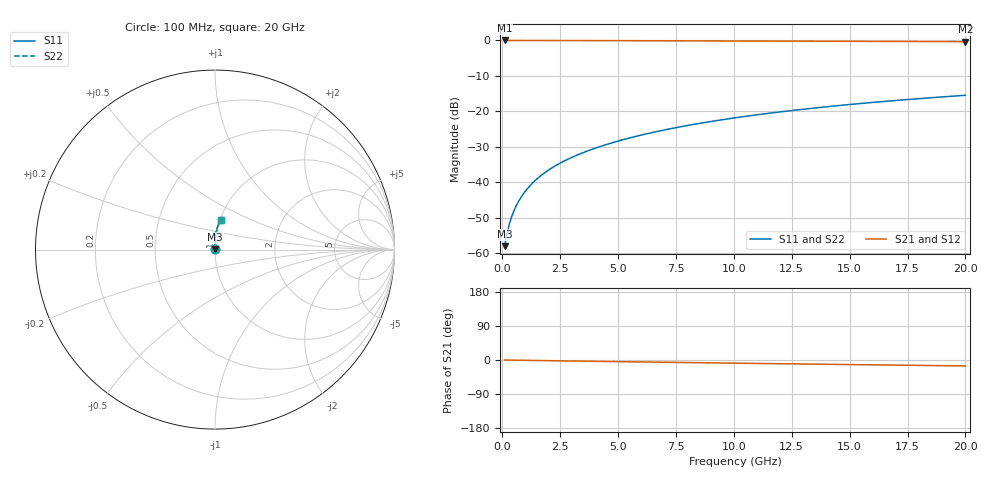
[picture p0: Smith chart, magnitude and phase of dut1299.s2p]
! Touchstone file exported from HFSS 2024.1.0
!  File:  C:/UserFiles/LocalFiles/RDL_TSV_Batchsim/temp_RDL_bottom_1299_1780247400.aedt
!  Generated:  01:12:19 AM Jun  1, 2026
!  Design:  RDL_bottom
!  Project:  temp_RDL_bottom_1299_1780247400
!  Setup:  Setup1
!  Solution:  Sweep
! Variables:
!  dtsv = 10.80580581um
!  hbump = 3um
!  htsv = 81.29um
!  ldown = 197.68um
!  lrdl = 100um
!  p = 40
!  p1 = 47.87um
!  rhole = 1um
!  t = 450um
!  tdown = 4.13um
!  trdl = 3.915915916um
!  wdown = 21.68um
!  wrdl = 20um
# GHz S MA R 50.000000
! Terminal data exported
! Port[1] = RDL1_T1
! Port[2] = RDL1_T2
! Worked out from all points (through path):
!   200 points, 100 MHz to 20 GHz, reference 50 ohm
!   highest |S21| = -0.01 dB at 100 MHz (marker M1); lowest = -0.3 dB at 20 GHz (marker M2)
!   group delay of S21, straight-line fit = 2.16 ps
!   lowest |S11| = -58.0 dB at 100 MHz (marker M3), VSWR 1.00, Z = 50.1 + j0.081 ohm
!   |S11| at or under -10 dB: start of sweep to end of sweep
!   |S22| runs from -58.0 to -15.5 dB; largest |S21 - S12| = 2.7e-15
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0.1  0.001261 39.9  0.999 -0.1  0.999 -0.1  0.001261 39.9
! Gamma 0 0 0 0
! Port Impedance 50 0 50 0
0.2  0.00188 57.3  0.999 -0.2  0.999 -0.2  0.00188 57.3
0.3  0.002558 65.6  0.9989 -0.3  0.9989 -0.3  0.002558 65.6
0.4  0.003248 70.4  0.9989 -0.4  0.9989 -0.4  0.003248 70.4
0.5  0.003948 73.7  0.9988 -0.5  0.9988 -0.5  0.003948 73.7
0.6  0.004654 76.1  0.9987 -0.5  0.9987 -0.5  0.004654 76.1
0.8  0.006085 79.4  0.9986 -0.7  0.9986 -0.7  0.006085 79.4
1.1  0.00826 82.3  0.9985 -1.0  0.9985 -1.0  0.00826 82.3
1.5  0.0112 84.5  0.9982 -1.4  0.9982 -1.4  0.0112 84.5
1.8  0.01342 85.5  0.9979 -1.6  0.9979 -1.6  0.01342 85.5
2.1  0.01566 86.3  0.9976 -1.9  0.9976 -1.9  0.01566 86.3
2.7  0.02018 87.4  0.9969 -2.4  0.9969 -2.4  0.02018 87.4
3.5  0.02632 88.3  0.9956 -3.1  0.9956 -3.1  0.02632 88.3
4.2  0.0318 88.7  0.9944 -3.7  0.9944 -3.7  0.0318 88.7
5  0.03819 89.0  0.9929 -4.4  0.9929 -4.4  0.0382 89.0
5.9  0.04555 89.0  0.9911 -5.1  0.9911 -5.1  0.04555 89.0
6.8  0.05306 88.9  0.9892 -5.9  0.9892 -5.9  0.05306 88.9
8.4  0.06674 88.3  0.9857 -7.1  0.9857 -7.1  0.06674 88.3
10.1  0.0816 87.3  0.982 -8.4  0.982 -8.4  0.0816 87.3
13.4  0.1108 84.9  0.9751 -10.9  0.9751 -10.9  0.1108 84.9
16.7  0.14 82.2  0.9683 -13.3  0.9683 -13.3  0.14 82.2
20  0.1686 79.4  0.9614 -15.7  0.9614 -15.7  0.1686 79.4
